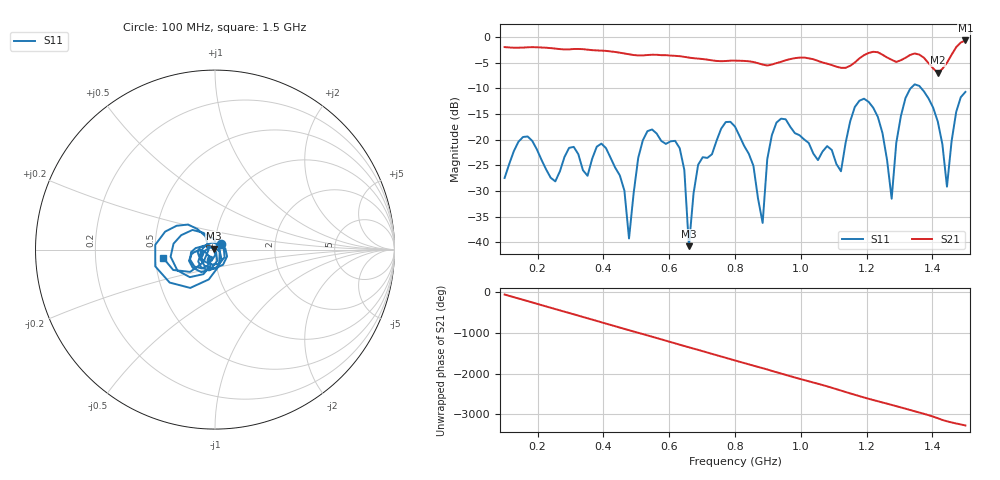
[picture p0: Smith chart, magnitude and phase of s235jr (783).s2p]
! NanoVNA-App
! Date: 2025-09-25 15:10:16
! Start: 100MHz Stop: 1,5GHz Points: 101
! S-Parameter data: F S11 S21 S12 S22
# Hz S RI R 50
!  Frequency  S11_Real  S11_Imag  S21_Real  S21_Imag  S12_Real  S12_Imag  S22_Real  S22_Imag
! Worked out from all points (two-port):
!   101 points, 100 MHz to 1.5 GHz, reference 50 ohm
!   highest |S21| = -0.67 dB at 1.5 GHz (marker M1); lowest = -7.0 dB at 1.416 GHz (marker M2)
!   |S21| within 3 dB of the highest: start of sweep to 618.6 MHz; 1.189 GHz to 1.254 GHz (64.84 MHz wide, 5.31 % of centre) (the widest 2 of 4)
!   lowest |S11| = -40.8 dB at 660 MHz (marker M3), VSWR 1.02, Z = 49.3 + j0.602 ohm
!   |S11| at or under -10 dB: start of sweep to 1.334 GHz; 1.366 GHz to end of sweep
!   S12 and S22 are empty: the file has one direction only
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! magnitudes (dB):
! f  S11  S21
! 100 MHz  -27.5  -2.0
! 170 MHz  -19.4  -2.0
! 338 MHz  -26.0  -2.4
! 408 MHz  -21.7  -2.7
! 478 MHz  -39.3  -3.4
! 520 MHz  -20.1  -3.6
! 576 MHz  -20.3  -3.5
! 632 MHz  -21.7  -3.7
! 660 MHz  -40.8  -4.0
! 688 MHz  -24.9  -4.2
! 800 MHz  -17.5  -4.6
! 884 MHz  -36.2  -5.4
! 926 MHz  -16.7  -5.1
! 1.038 GHz  -22.7  -4.3
! 1.122 GHz  -26.2  -6.0
! 1.192 GHz  -12.0  -3.5
! 1.248 GHz  -18.7  -3.4
! 1.276 GHz  -31.5  -4.4
! 1.332 GHz  -10.1  -3.5
! 1.416 GHz  -16.4  -7.0
! 1.444 GHz  -29.2  -5.0
! 1.5 GHz  -10.7  -0.7
